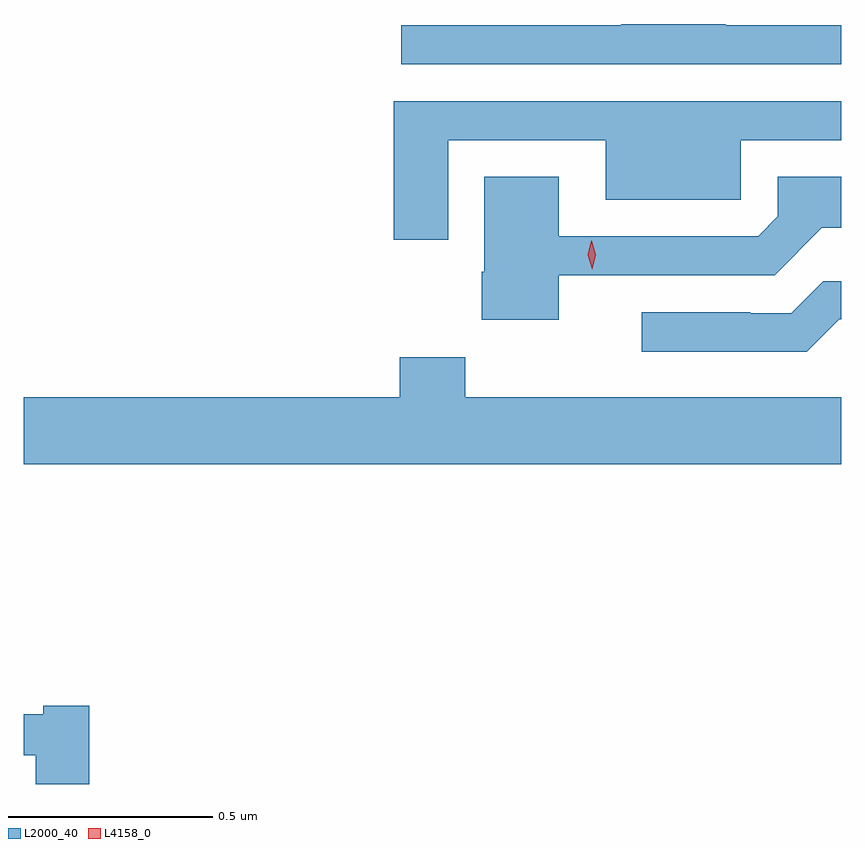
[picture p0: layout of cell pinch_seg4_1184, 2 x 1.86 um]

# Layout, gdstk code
import gdstk
lib = gdstk.Library(unit=1e-6, precision=1e-09)
def P(c, l, *ps):  # polygons
    for p in ps: c.add(gdstk.Polygon(p, *l))
L2000_40 = (2000, 40)
L4158_0 = (4158, 0)

pinch_seg4_1184 = lib.new_cell('pinch_seg4_1184')
P(pinch_seg4_1184, L2000_40, [(449.939,764.595),(449.657,764.595),(449.657,764.598),(449.401,764.598),(449.401,764.595),(448.863,764.595),(448.863,764.499),(449.939,764.499)],
  [(448.978,764.313),(449.363,764.313),(449.363,764.168),(449.694,764.168),(449.694,764.313),(449.939,764.313),(449.939,764.409),(448.844,764.409),(448.844,764.07),(448.978,764.07)],
  [(449.248,763.983),(449.776,763.983),(449.892,764.099),(449.939,764.099),(449.939,764.224),(449.784,764.224),(449.784,764.127),(449.736,764.079),(449.248,764.079),(449.248,764.224),(449.066,764.224),(449.066,763.992),(449.06,763.992),(449.06,763.874),(449.248,763.874)],
  [(449.934,763.875),(449.939,763.875),(449.939,763.968),(449.895,763.968),(449.817,763.89),(449.717,763.89),(449.717,763.893),(449.451,763.893),(449.451,763.796),(449.855,763.796)],
  [(449.939,763.684),(449.019,763.684),(449.019,763.783),(448.859,763.783),(448.859,763.684),(447.939,763.684),(447.939,763.52),(449.939,763.52)],
  [(448.099,762.929),(447.986,762.929),(447.986,762.909),(447.939,762.909),(447.939,762.808),(447.968,762.808),(447.968,762.738),(448.099,762.738)])
P(pinch_seg4_1184, L4158_0, [(449.33,763.998),(449.33,763.998),(449.319,764.033),(449.328,764.068),(449.328,764.068),(449.329,764.068),(449.339,764.033),(449.33,763.998)])

lib.write_gds('pinch_seg4_1184.gds')
